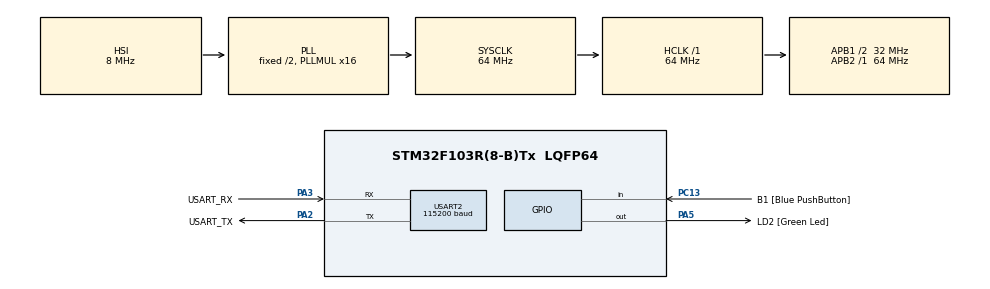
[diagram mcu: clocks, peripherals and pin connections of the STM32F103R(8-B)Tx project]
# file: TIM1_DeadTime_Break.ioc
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Mcu.Family=STM32F1
Mcu.Name=STM32F103R(8-B)Tx
Mcu.Package=LQFP64
NVIC.PriorityGroup=NVIC_PRIORITYGROUP_4
NVIC.TIM1_BRK_IRQn=true\:0\:0\:false\:false\:true\:true\:true\:true
PA13.GPIO_Label=TMS
PA13.Mode=Serial_Wire
PA13.Signal=SYS_JTMS-SWDIO
PA14.GPIO_Label=TCK
PA14.Mode=Serial_Wire
PA14.Signal=SYS_JTCK-SWCLK
PA2.GPIO_Label=USART_TX
PA2.GPIO_Mode=GPIO_MODE_AF_PP
PA2.GPIO_PuPd=GPIO_NOPULL
PA2.GPIO_Speed=GPIO_SPEED_FREQ_LOW
PA2.Mode=Asynchronous
PA2.Signal=USART2_TX
PA3.GPIO_Label=USART_RX
PA3.GPIO_PuPd=GPIO_NOPULL
PA3.GPIO_Speed=GPIO_SPEED_FREQ_LOW
PA3.Mode=Asynchronous
PA3.Signal=USART2_RX
PA5.GPIO_Label=LD2 [Green Led]
PA5.GPIO_ModeDefaultOutputPP=GPIO_MODE_OUTPUT_PP
PA5.GPIO_PuPd=GPIO_NOPULL
PA5.GPIO_Speed=GPIO_SPEED_FREQ_LOW
PA5.Signal=GPIO_Output
PA8.GPIO_Label=PWM_CH1
PA8.GPIO_Speed=GPIO_SPEED_FREQ_HIGH
PA8.Signal=TIM1_CH1
PB12.GPIO_Label=BRK_IN
PB12.GPIO_PuPd=GPIO_PULLDOWN
PB12.Signal=TIM1_BKIN
PB13.GPIO_Label=PWM_CH1N
PB13.GPIO_Speed=GPIO_SPEED_FREQ_HIGH
PB13.Signal=TIM1_CH1N
PB3.GPIO_Label=SWO
PB3.Signal=SYS_JTDO-TRACESWO
PC13-TAMPER-RTC.GPIO_Label=B1 [Blue PushButton]
PC13-TAMPER-RTC.GPIO_PuPd=GPIO_NOPULL
PC13-TAMPER-RTC.Signal=GPIO_Input
PC14-OSC32_IN.Mode=LSE-External-Oscillator
PC14-OSC32_IN.Signal=RCC_OSC32_IN
PC15-OSC32_OUT.Mode=LSE-External-Oscillator
PC15-OSC32_OUT.Signal=RCC_OSC32_OUT
PD0-OSC_IN.Mode=HSE-External-Clock-Source
PD0-OSC_IN.Signal=RCC_OSC_IN
PD1-OSC_OUT.Mode=HSE-External-Clock-Source
PD1-OSC_OUT.Signal=RCC_OSC_OUT
ProjectManager.HeapSize=0x200
ProjectManager.StackSize=0x400
ProjectManager.TargetToolchain=STM32CubeIDE
RCC.AHBFreq_Value=64000000
RCC.APB1CLKDivider=RCC_HCLK_DIV2
RCC.APB1Freq_Value=32000000
RCC.APB1TimFreq_Value=64000000
RCC.APB2Freq_Value=64000000
RCC.APB2TimFreq_Value=64000000
RCC.HCLKFreq_Value=64000000
RCC.PLLMUL=RCC_PLL_MUL16
RCC.RTCClockSelection=RCC_RTCCLKSOURCE_LSE
RCC.SYSCLKFreq_VALUE=64000000
RCC.SYSCLKSource=RCC_SYSCLKSOURCE_PLLCLK
RCC.USBFreq_Value=64000000
TIM1.AutoReloadPreload=TIM_AUTORELOAD_PRELOAD_ENABLE
TIM1.AutomaticOutput=TIM_AUTOMATICOUTPUT_DISABLE
TIM1.BreakPolarity=TIM_BREAKPOLARITY_HIGH
TIM1.BreakState=TIM_BREAK_ENABLE
TIM1.Channel-PWM Generation1N CH1=TIM_CHANNEL_1
TIM1.DeadTime=64
TIM1.Period=3199
TIM1.Prescaler=0
TIM1.Pulse-PWM Generation1 CH1 and CH1N=1600
USART2.BaudRate=115200
USART2.VirtualMode=VM_ASYNC
board=NUCLEO-F103RB

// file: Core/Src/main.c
/* USER CODE BEGIN Header */
/**
 ******************************************************************************
 * @file           : main.c
 * @brief          : Main program body
 ******************************************************************************
 * @attention
 *
 * Copyright (c) 2026 STMicroelectronics.
 * All rights reserved.
 *
 * This software is licensed under terms that can be found in the LICENSE file
 * in the root directory of this software component.
 * If no LICENSE file comes with this software, it is provided AS-IS.
 *
 ******************************************************************************
 */
/**
 * 08_TIM1_DeadTime_Break_c  —  [계층: HAL]  고급 타이머 TIM1: 상보 PWM + 데드타임 + 브레이크
 *
 * 모터 구동(하프브리지)에서 상단/하단 스위치가 동시에 켜져 전원이 단락되는 것을 막는 기능들.
 *
 * 출력 (Nucleo-F103RB, 관측은 오실로스코프/로직 분석기)
 *   TIM1_CH1  = PA8  ('D7')          20kHz, 듀티 50%
 *   TIM1_CH1N = PB13 (Morpho CN10)   CH1 의 반전 + 데드타임 삽입
 *   TIM1_BKIN = PB12 (Morpho CN10)   외부 브레이크 입력 (High 가 되면 출력 강제 차단)
 *
 * 타이밍 계산 (TIM1 은 APB2 = 64MHz 에 연결)
 *   PSC = 0, ARR = 3200-1  ->  64MHz / 3200 = 20kHz,  CCR1 = 1600 -> 듀티 50%
 *   데드타임 = DTG x t_DTS,  t_DTS = 1/64MHz = 15.6ns (CR1.CKD = 00)
 *     HAL 의 DeadTime 인자 = BDTR.DTG[7:0] 레지스터 값 그대로
 *     DTG < 128        : DT = DTG x t_DTS            (DTG=64 -> 약 1.0us)
 *     128 <= DTG < 192 : DT = (64 + DTG[5:0]) x 2 x t_DTS  (더 긴 데드타임을 성긴 단위로)
 *   -> 이 예제는 DeadTime = 64 (약 1us): CH1 이 꺼진 뒤 1us 후에 CH1N 이 켜지고, 반대도 동일.
 *
 * 브레이크 동작 (TIM1->BDTR)
 *   BKE=1(브레이크 입력 사용), BKP=1(High 활성), MOE 가 하드웨어에 의해 0 이 되어 출력 전부 OFF,
 *   SR.BIF=1 + 브레이크 인터럽트. AOE=0 이므로 브레이크 해제 후에도 소프트웨어가 MOE 를 다시 켜야 한다.
 *
 * 시험 방법
 *   1) 스코프로 PA8 과 PB13 을 동시에 보면 두 신호가 겹치지 않고 사이에 1us 공백이 있다.
 *   2) B1(PC13) 을 누르면 소프트웨어 브레이크 발생(TIM1->EGR.BG). 두 출력이 즉시 꺼지고 LD2 가 켜지며,
 *      2초 뒤 MOE 를 다시 켜서 PWM 이 재개된다. (외부 신호로 시험하려면 PB12 에 3.3V 를 인가)
 *
 * ISR vs 콜백
 *   TIM1_BRK_IRQHandler (stm32f1xx_it.c, 진짜 ISR) -> HAL_TIM_IRQHandler()
 *     -> HAL_TIMEx_BreakCallback() (이 파일) : 브레이크 발생 통지
 */
/* USER CODE END Header */
#include "main.h"

/* USER CODE BEGIN Includes */
#include <stdio.h>
#include <string.h>
/* USER CODE END Includes */

TIM_HandleTypeDef htim1;
UART_HandleTypeDef huart2;

/* USER CODE BEGIN PV */
static volatile uint8_t break_flag;
/* USER CODE END PV */

void SystemClock_Config(void);
static void MX_GPIO_Init(void);
static void MX_TIM1_Init(void);
static void MX_USART2_UART_Init(void);

int main(void)
{

  /* MCU Configuration--------------------------------------------------------*/

  /* Reset of all peripherals, Initializes the Flash interface and the Systick. */
  HAL_Init();

  /* Configure the system clock */
  SystemClock_Config();

  /* Initialize all configured peripherals */
  MX_GPIO_Init();
  MX_TIM1_Init();
  MX_USART2_UART_Init();
  /* USER CODE BEGIN 2 */
  __HAL_TIM_ENABLE_IT(&htim1, TIM_IT_BREAK);       /* DIER.BIE = 1 */

  if (HAL_TIM_PWM_Start(&htim1, TIM_CHANNEL_1) != HAL_OK) Error_Handler();      /* CCER.CC1E, BDTR.MOE, CR1.CEN */
  if (HAL_TIMEx_PWMN_Start(&htim1, TIM_CHANNEL_1) != HAL_OK) Error_Handler();   /* CCER.CC1NE */

  const char *banner = "\r\n[TIM1 complementary PWM 20kHz, dead-time ~1us] B1: software break\r\n";
  HAL_UART_Transmit(&huart2, (uint8_t *)banner, (uint16_t)strlen(banner), 100);
  /* USER CODE END 2 */

  /* Infinite loop */
  while (1)
  {

    /* USER CODE BEGIN 3 */
    if (break_flag)
    {
      break_flag = 0;
      HAL_GPIO_WritePin(LD2_GPIO_Port, LD2_Pin, GPIO_PIN_SET);              /* LD2 ON: 브레이크 상태 표시 */
      const char *m = "BREAK! outputs disabled (MOE=0), re-enable in 2s\r\n";
      HAL_UART_Transmit(&huart2, (uint8_t *)m, (uint16_t)strlen(m), 100);

      HAL_Delay(2000);

      __HAL_TIM_CLEAR_FLAG(&htim1, TIM_FLAG_BREAK);                    /* SR.BIF = 0 (브레이크 입력이 해제된 후에) */
      __HAL_TIM_MOE_ENABLE(&htim1);                                    /* BDTR.MOE = 1 : 출력 재개 */
      HAL_GPIO_WritePin(LD2_GPIO_Port, LD2_Pin, GPIO_PIN_RESET);
      m = "PWM resumed\r\n";
      HAL_UART_Transmit(&huart2, (uint8_t *)m, (uint16_t)strlen(m), 100);
    }

    if (HAL_GPIO_ReadPin(B1_GPIO_Port, B1_Pin) == GPIO_PIN_RESET)          /* B1 눌림 (GPIOC->IDR bit13) */
    {
      HAL_Delay(30);
      htim1.Instance->EGR |= TIM_EGR_BG;                               /* EGR.BG = 1 : 소프트웨어 브레이크 발생 */
      while (HAL_GPIO_ReadPin(B1_GPIO_Port, B1_Pin) == GPIO_PIN_RESET) {}
    }
  }
  /* USER CODE END 3 */
}

void SystemClock_Config(void)
{
  RCC_OscInitTypeDef RCC_OscInitStruct = {0};
  RCC_ClkInitTypeDef RCC_ClkInitStruct = {0};

  /** Initializes the RCC Oscillators according to the specified parameters
  * in the RCC_OscInitTypeDef structure.
  */
  RCC_OscInitStruct.OscillatorType = RCC_OSCILLATORTYPE_HSI;
  RCC_OscInitStruct.HSIState = RCC_HSI_ON;
  RCC_OscInitStruct.HSICalibrationValue = RCC_HSICALIBRATION_DEFAULT;
  RCC_OscInitStruct.PLL.PLLState = RCC_PLL_ON;
  RCC_OscInitStruct.PLL.PLLSource = RCC_PLLSOURCE_HSI_DIV2;
  RCC_OscInitStruct.PLL.PLLMUL = RCC_PLL_MUL16;
  if (HAL_RCC_OscConfig(&RCC_OscInitStruct) != HAL_OK)
  {
    Error_Handler();
  }

  /** Initializes the CPU, AHB and APB buses clocks
  */
  RCC_ClkInitStruct.ClockType = RCC_CLOCKTYPE_HCLK|RCC_CLOCKTYPE_SYSCLK
                              |RCC_CLOCKTYPE_PCLK1|RCC_CLOCKTYPE_PCLK2;
  RCC_ClkInitStruct.SYSCLKSource = RCC_SYSCLKSOURCE_PLLCLK;
  RCC_ClkInitStruct.AHBCLKDivider = RCC_SYSCLK_DIV1;
  RCC_ClkInitStruct.APB1CLKDivider = RCC_HCLK_DIV2;
  RCC_ClkInitStruct.APB2CLKDivider = RCC_HCLK_DIV1;

  if (HAL_RCC_ClockConfig(&RCC_ClkInitStruct, FLASH_LATENCY_2) != HAL_OK)
  {
    Error_Handler();
  }
}

static void MX_TIM1_Init(void)
{

  TIM_MasterConfigTypeDef sMasterConfig = {0};
  TIM_OC_InitTypeDef sConfigOC = {0};
  TIM_BreakDeadTimeConfigTypeDef sBreakDeadTimeConfig = {0};

  htim1.Instance = TIM1;
  htim1.Init.Prescaler = 0;
  htim1.Init.CounterMode = TIM_COUNTERMODE_UP;
  htim1.Init.Period = 3199;
  htim1.Init.ClockDivision = TIM_CLOCKDIVISION_DIV1;
  htim1.Init.RepetitionCounter = 0;
  htim1.Init.AutoReloadPreload = TIM_AUTORELOAD_PRELOAD_ENABLE;
  if (HAL_TIM_PWM_Init(&htim1) != HAL_OK)
  {
    Error_Handler();
  }
  sMasterConfig.MasterOutputTrigger = TIM_TRGO_RESET;
  sMasterConfig.MasterSlaveMode = TIM_MASTERSLAVEMODE_DISABLE;
  if (HAL_TIMEx_MasterConfigSynchronization(&htim1, &sMasterConfig) != HAL_OK)
  {
    Error_Handler();
  }
  sConfigOC.OCMode = TIM_OCMODE_PWM1;
  sConfigOC.Pulse = 1600;
  sConfigOC.OCPolarity = TIM_OCPOLARITY_HIGH;
  sConfigOC.OCNPolarity = TIM_OCNPOLARITY_HIGH;
  sConfigOC.OCFastMode = TIM_OCFAST_DISABLE;
  sConfigOC.OCIdleState = TIM_OCIDLESTATE_RESET;
  sConfigOC.OCNIdleState = TIM_OCNIDLESTATE_RESET;
  if (HAL_TIM_PWM_ConfigChannel(&htim1, &sConfigOC, TIM_CHANNEL_1) != HAL_OK)
  {
    Error_Handler();
  }
  sBreakDeadTimeConfig.OffStateRunMode = TIM_OSSR_DISABLE;
  sBreakDeadTimeConfig.OffStateIDLEMode = TIM_OSSI_DISABLE;
  sBreakDeadTimeConfig.LockLevel = TIM_LOCKLEVEL_OFF;
  sBreakDeadTimeConfig.DeadTime = 64;
  sBreakDeadTimeConfig.BreakState = TIM_BREAK_ENABLE;
  sBreakDeadTimeConfig.BreakPolarity = TIM_BREAKPOLARITY_HIGH;
  sBreakDeadTimeConfig.AutomaticOutput = TIM_AUTOMATICOUTPUT_DISABLE;
  if (HAL_TIMEx_ConfigBreakDeadTime(&htim1, &sBreakDeadTimeConfig) != HAL_OK)
  {
    Error_Handler();
  }
  /* USER CODE BEGIN TIM1_Init 2 */
  /* 20kHz = 64MHz / 3200 (PSC=0, ARR=3199), CCR1=1600 (50%).
   * BDTR.DTG = 64 (약 1us 데드타임), BDTR.BKE=1, BKP=1 (High 활성), AOE=0 (MOE 는 소프트웨어가 복구)
   * CR2.OIS1/OIS1N = 0 (브레이크/IDLE 시 출력 상태), CCER.CC1P/CC1NP = 0 */
  /* USER CODE END TIM1_Init 2 */
  HAL_TIM_MspPostInit(&htim1);

}

static void MX_USART2_UART_Init(void)
{

  huart2.Instance = USART2;
  huart2.Init.BaudRate = 115200;
  huart2.Init.WordLength = UART_WORDLENGTH_8B;
  huart2.Init.StopBits = UART_STOPBITS_1;
  huart2.Init.Parity = UART_PARITY_NONE;
  huart2.Init.Mode = UART_MODE_TX_RX;
  huart2.Init.HwFlowCtl = UART_HWCONTROL_NONE;
  huart2.Init.OverSampling = UART_OVERSAMPLING_16;
  if (HAL_UART_Init(&huart2) != HAL_OK)
  {
    Error_Handler();
  }

}

static void MX_GPIO_Init(void)
{
  GPIO_InitTypeDef GPIO_InitStruct = {0};

  /* GPIO Ports Clock Enable */
  __HAL_RCC_GPIOC_CLK_ENABLE();
  __HAL_RCC_GPIOD_CLK_ENABLE();
  __HAL_RCC_GPIOA_CLK_ENABLE();
  __HAL_RCC_GPIOB_CLK_ENABLE();

  /*Configure GPIO pin Output Level */
  HAL_GPIO_WritePin(LD2_GPIO_Port, LD2_Pin, GPIO_PIN_RESET);

  /*Configure GPIO pin : B1_Pin */
  GPIO_InitStruct.Pin = B1_Pin;
  GPIO_InitStruct.Mode = GPIO_MODE_INPUT;
  GPIO_InitStruct.Pull = GPIO_NOPULL;
  HAL_GPIO_Init(B1_GPIO_Port, &GPIO_InitStruct);

  /*Configure GPIO pin : LD2_Pin */
  GPIO_InitStruct.Pin = LD2_Pin;
  GPIO_InitStruct.Mode = GPIO_MODE_OUTPUT_PP;
  GPIO_InitStruct.Pull = GPIO_NOPULL;
  GPIO_InitStruct.Speed = GPIO_SPEED_FREQ_LOW;
  HAL_GPIO_Init(LD2_GPIO_Port, &GPIO_InitStruct);

}

/* USER CODE BEGIN 4 */
/* ------------------------------------------------------------------------- */
/* HAL 콜백 (ISR 아님, HAL_TIM_IRQHandler 가 호출)                              */
/* ------------------------------------------------------------------------- */
void HAL_TIMEx_BreakCallback(TIM_HandleTypeDef *htim)
{
  if (htim->Instance == TIM1) break_flag = 1;      /* ISR 에서는 플래그만, 후처리는 main */
}
/* USER CODE END 4 */

void Error_Handler(void)
{
  __disable_irq();
  while (1) {
  }
}
#ifdef USE_FULL_ASSERT
/**
  * @brief  Reports the name of the source file and the source line number
  *         where the assert_param error has occurred.
  * @param  file: pointer to the source file name
  * @param  line: assert_param error line source number
  * @retval None
  */
void assert_failed(uint8_t *file, uint32_t line)
{
  /* USER CODE BEGIN 6 */
  /* User can add his own implementation to report the file name and line
     number, ex: printf("Wrong parameters value: file %s on line %d\r\n", file,
     line) */
  /* USER CODE END 6 */
}
#endif /* USE_FULL_ASSERT */
